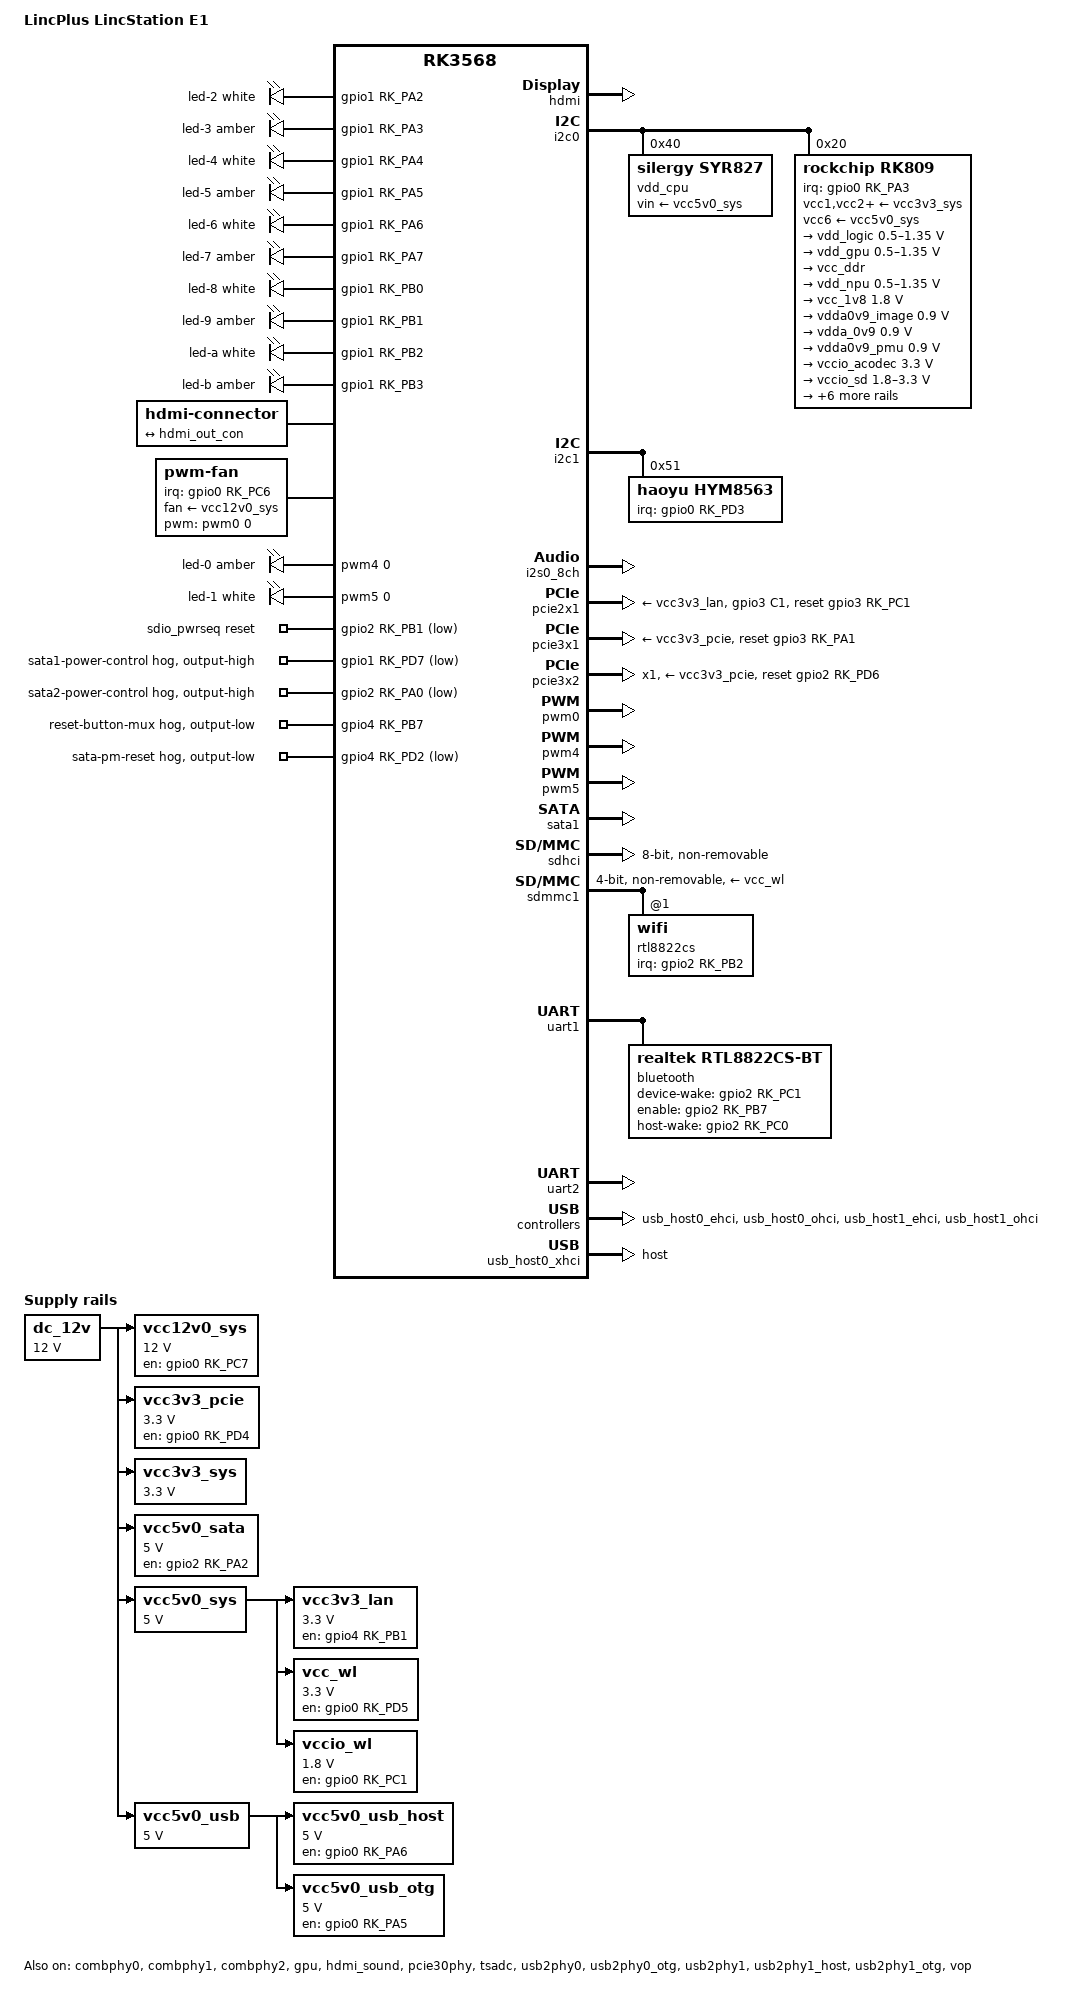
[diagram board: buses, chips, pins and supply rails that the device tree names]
// SPDX-License-Identifier: GPL-2.0-or-later OR MIT

/dts-v1/;

#include <dt-bindings/gpio/gpio.h>
#include <dt-bindings/input/input.h>
#include <dt-bindings/leds/common.h>
#include <dt-bindings/pinctrl/rockchip.h>
#include <dt-bindings/soc/rockchip,vop2.h>

#include "rk3568.dtsi"

/ {
	model = "LincPlus LincStation E1";
	compatible = "techvision,tvd8322r", "rockchip,rk3568";

	aliases {
		mmc0 = &sdhci;
		mmc1 = &sdmmc1;
		rtc0 = &hym8563;
	};

	chosen {
		stdout-path = "serial2:1500000n8";
	};

	/* This device is only available when reset-button-mux is driven high */
	adc-keys {
		compatible = "adc-keys";
		io-channels = <&saradc 5>;
		io-channel-names = "buttons";
		keyup-threshold-microvolt = <1800000>;
		poll-interval = <100>;
		status = "disabled";

		button-reset {
			label = "reset";
			linux,code = <KEY_RESTART>;
			press-threshold-microvolt = <0>;
		};
	};

	gpio-leds {
		compatible = "gpio-leds";
		pinctrl-names = "default";
		pinctrl-0 = <&gpio_leds &sata1_detect &sata2_detect>;

		led-2 {
			color = <LED_COLOR_ID_WHITE>;
			function = LED_FUNCTION_LAN;
			gpios = <&gpio1 RK_PA2 GPIO_ACTIVE_HIGH>;
			linux,default-trigger = "netdev";
		};

		led-3 {
			color = <LED_COLOR_ID_AMBER>;
			function = LED_FUNCTION_LAN;
			gpios = <&gpio1 RK_PA3 GPIO_ACTIVE_HIGH>;
			linux,default-trigger = "netdev";
		};

		led-4 {
			color = <LED_COLOR_ID_WHITE>;
			function = "m1";
			gpios = <&gpio1 RK_PA4 GPIO_ACTIVE_HIGH>;
		};

		led-5 {
			color = <LED_COLOR_ID_AMBER>;
			function = "m1";
			gpios = <&gpio1 RK_PA5 GPIO_ACTIVE_HIGH>;
		};

		led-6 {
			color = <LED_COLOR_ID_WHITE>;
			function = "m2";
			gpios = <&gpio1 RK_PA6 GPIO_ACTIVE_HIGH>;
		};

		led-7 {
			color = <LED_COLOR_ID_AMBER>;
			function = "m2";
			gpios = <&gpio1 RK_PA7 GPIO_ACTIVE_HIGH>;
		};

		led-8 {
			color = <LED_COLOR_ID_WHITE>;
			function = "s1";
			gpios = <&gpio1 RK_PB0 GPIO_ACTIVE_HIGH>;
			linux,default-trigger = "disk-activity";
		};

		led-9 {
			color = <LED_COLOR_ID_AMBER>;
			function = "s1";
			gpios = <&gpio1 RK_PB1 GPIO_ACTIVE_HIGH>;
			linux,default-trigger = "gpio";
			trigger-sources = <&gpio1 RK_PD6 GPIO_ACTIVE_LOW>;
		};

		led-a {
			color = <LED_COLOR_ID_WHITE>;
			function = "s2";
			gpios = <&gpio1 RK_PB2 GPIO_ACTIVE_HIGH>;
			linux,default-trigger = "disk-activity";
		};

		led-b {
			color = <LED_COLOR_ID_AMBER>;
			function = "s2";
			gpios = <&gpio1 RK_PB3 GPIO_ACTIVE_HIGH>;
			linux,default-trigger = "gpio";
			trigger-sources = <&gpio1 RK_PD5 GPIO_ACTIVE_LOW>;
		};
	};

	hdmi-con {
		compatible = "hdmi-connector";
		type = "a";

		port {
			hdmi_con_in: endpoint {
				remote-endpoint = <&hdmi_out_con>;
			};
		};
	};

	fan: pwm-fan {
		compatible = "pwm-fan";
		interrupt-parent = <&gpio0>;
		interrupts = <RK_PC6 IRQ_TYPE_EDGE_RISING>;
		#cooling-cells = <2>;
		cooling-levels = <0 20 50 90 130 170 210 225 240 255>;
		fan-supply = <&vcc12v0_sys>;
		fan-stop-to-start-percent = <8>;
		pinctrl-names = "default";
		pinctrl-0 = <&fan_tach>;
		pulses-per-revolution = <2>;
		pwms = <&pwm0 0 50000 0>;
	};

	pwm-leds {
		compatible = "pwm-leds";

		led-0 {
			color = <LED_COLOR_ID_AMBER>;
			default-state = "off";
			function = LED_FUNCTION_STANDBY;
			max-brightness = <255>;
			pwms = <&pwm4 0 25000 0>;
		};

		led-1 {
			color = <LED_COLOR_ID_WHITE>;
			default-brightness = <127>;
			default-state = "on";
			function = LED_FUNCTION_POWER;
			max-brightness = <255>;
			pwms = <&pwm5 0 25000 0>;
		};
	};

	dc_12v: regulator-dc-12v {
		compatible = "regulator-fixed";
		regulator-name = "dc_12v";
		regulator-always-on;
		regulator-boot-on;
		regulator-min-microvolt = <12000000>;
		regulator-max-microvolt = <12000000>;
	};

	vcc12v0_sys: regulator-vcc12v0-sys {
		compatible = "regulator-fixed";
		enable-active-high;
		gpio = <&gpio0 RK_PC7 GPIO_ACTIVE_HIGH>;
		pinctrl-names = "default";
		pinctrl-0 = <&vcc12v0_sys_en>;
		regulator-name = "vcc12v0_sys";
		regulator-always-on;
		regulator-boot-on;
		regulator-min-microvolt = <12000000>;
		regulator-max-microvolt = <12000000>;
		vin-supply = <&dc_12v>;
	};

	vcc3v3_lan: regulator-vcc3v3-lan {
		compatible = "regulator-fixed";
		enable-active-high;
		gpio = <&gpio4 RK_PB1 GPIO_ACTIVE_HIGH>;
		pinctrl-names = "default";
		pinctrl-0 = <&vcc3v3_lan_en>;
		regulator-name = "vcc3v3_lan";
		regulator-min-microvolt = <3300000>;
		regulator-max-microvolt = <3300000>;
		vin-supply = <&vcc5v0_sys>;
	};

	vcc3v3_pcie: regulator-vcc3v3-pcie {
		compatible = "regulator-fixed";
		enable-active-high;
		gpio = <&gpio0 RK_PD4 GPIO_ACTIVE_HIGH>;
		pinctrl-names = "default";
		pinctrl-0 = <&vcc3v3_pcie_en>;
		off-on-delay-us = <500000>;
		regulator-name = "vcc3v3_pcie";
		regulator-min-microvolt = <3300000>;
		regulator-max-microvolt = <3300000>;
		startup-delay-us = <5000>;
		vin-supply = <&dc_12v>;
	};

	vcc3v3_sys: regulator-vcc3v3-sys {
		compatible = "regulator-fixed";
		regulator-name = "vcc3v3_sys";
		regulator-always-on;
		regulator-boot-on;
		regulator-min-microvolt = <3300000>;
		regulator-max-microvolt = <3300000>;
		vin-supply = <&dc_12v>;
	};

	vcc5v0_sata: regulator-vcc5v0-sata {
		compatible = "regulator-fixed";
		enable-active-high;
		gpio = <&gpio2 RK_PA2 GPIO_ACTIVE_HIGH>;
		pinctrl-names = "default";
		pinctrl-0 = <&vcc5v0_sata_en>;
		regulator-name = "vcc5v0_sata";
		regulator-min-microvolt = <5000000>;
		regulator-max-microvolt = <5000000>;
		vin-supply = <&dc_12v>;
	};

	vcc5v0_sys: regulator-vcc5v0-sys {
		compatible = "regulator-fixed";
		regulator-name = "vcc5v0_sys";
		regulator-always-on;
		regulator-boot-on;
		regulator-min-microvolt = <5000000>;
		regulator-max-microvolt = <5000000>;
		vin-supply = <&dc_12v>;
	};

	vcc5v0_usb: regulator-vcc5v0-usb {
		compatible = "regulator-fixed";
		regulator-name = "vcc5v0_usb";
		regulator-always-on;
		regulator-boot-on;
		regulator-min-microvolt = <5000000>;
		regulator-max-microvolt = <5000000>;
		vin-supply = <&dc_12v>;
	};

	vcc5v0_usb_host: regulator-vcc5v0-usb-host {
		compatible = "regulator-fixed";
		enable-active-high;
		gpio = <&gpio0 RK_PA6 GPIO_ACTIVE_HIGH>;
		pinctrl-names = "default";
		pinctrl-0 = <&vcc5v0_usb_host_en>;
		regulator-name = "vcc5v0_usb_host";
		regulator-min-microvolt = <5000000>;
		regulator-max-microvolt = <5000000>;
		vin-supply = <&vcc5v0_usb>;
	};

	vcc5v0_usb_otg: regulator-vcc5v0-usb-otg {
		compatible = "regulator-fixed";
		enable-active-high;
		gpio = <&gpio0 RK_PA5 GPIO_ACTIVE_HIGH>;
		pinctrl-names = "default";
		pinctrl-0 = <&vcc5v0_usb_otg_en>;
		regulator-name = "vcc5v0_usb_otg";
		regulator-min-microvolt = <5000000>;
		regulator-max-microvolt = <5000000>;
		vin-supply = <&vcc5v0_usb>;
	};

	vcc_wl: regulator-vcc-wl {
		compatible = "regulator-fixed";
		enable-active-high;
		gpio = <&gpio0 RK_PD5 GPIO_ACTIVE_HIGH>;
		pinctrl-names = "default";
		pinctrl-0 = <&vcc_wl_en>;
		regulator-name = "vcc_wl";
		regulator-min-microvolt = <3300000>;
		regulator-max-microvolt = <3300000>;
		vin-supply = <&vcc5v0_sys>;
	};

	vccio_wl: regulator-vccio-wl {
		compatible = "regulator-fixed";
		enable-active-high;
		gpio = <&gpio0 RK_PC1 GPIO_ACTIVE_HIGH>;
		pinctrl-names = "default";
		pinctrl-0 = <&vccio_wl_en>;
		regulator-name = "vccio_wl";
		regulator-min-microvolt = <1800000>;
		regulator-max-microvolt = <1800000>;
		vin-supply = <&vcc5v0_sys>;
	};

	sdio_pwrseq: sdio-pwrseq {
		compatible = "mmc-pwrseq-simple";
		clocks = <&rk809 1>;
		clock-names = "ext_clock";
		pinctrl-names = "default";
		pinctrl-0 = <&wifi_enable_h>;
		post-power-on-delay-ms = <200>;
		reset-gpios = <&gpio2 RK_PB1 GPIO_ACTIVE_LOW>;
	};
};

&combphy0 {
	status = "okay";
};

&combphy1 {
	status = "okay";
};

&combphy2 {
	status = "okay";
};

&cpu0 {
	cpu-supply = <&vdd_cpu>;
};

&cpu1 {
	cpu-supply = <&vdd_cpu>;
};

&cpu2 {
	cpu-supply = <&vdd_cpu>;
};

&cpu3 {
	cpu-supply = <&vdd_cpu>;
};

/*
 * The fan pulls hot air from the CPU and m.2 slot heat sinks and blows it
 * across the hard disks. To keep the disks from overheating (below 50 °C),
 * their ambient air, and thus the CPU heat sink, must be kept quite cool.
 */
&cpu_thermal {
	trips {
		sys_fan1: sys-fan1 {
			hysteresis = <2000>;
			temperature = <25000>;
			type = "active";
		};

		sys_fan2: sys-fan2 {
			hysteresis = <2000>;
			temperature = <35000>;
			type = "active";
		};

		sys_fan3: sys-fan3 {
			hysteresis = <2000>;
			temperature = <45000>;
			type = "active";
		};
	};

	cooling-maps {
		map1 {
			cooling-device = <&fan 1 3>;
			trip = <&sys_fan1>;
		};

		map2 {
			cooling-device = <&fan 4 5>;
			trip = <&sys_fan2>;
		};

		map3 {
			cooling-device = <&fan 6 THERMAL_NO_LIMIT>;
			trip = <&sys_fan3>;
		};
	};
};

&gpio1 {
	/* ata1.01 is the slot labeled HDD2 */
	sata1-power-control-hog {
		gpio-hog;
		gpios = <RK_PD7 GPIO_ACTIVE_LOW>;
		line-name = "sata1-power-control";
		output-high;
	};
};

&gpio2 {
	/* ata1.02 is the slot labeled HDD1 */
	sata2-power-control-hog {
		gpio-hog;
		gpios = <RK_PA0 GPIO_ACTIVE_LOW>;
		line-name = "sata2-power-control";
		output-high;
	};
};

&gpio4 {
	/* low = SoC reset, high = saradc input */
	reset-button-mux-hog {
		gpio-hog;
		gpios = <RK_PB7 GPIO_ACTIVE_HIGH>;
		line-name = "reset-button-mux";
		output-low;
	};

	sata-pm-reset-hog {
		gpio-hog;
		gpios = <RK_PD2 GPIO_ACTIVE_LOW>;
		line-name = "sata-pm-reset";
		output-low;
	};
};

&gpu {
	mali-supply = <&vdd_gpu>;
	status = "okay";
};

&hdmi {
	avdd-0v9-supply = <&vdda0v9_image>;
	avdd-1v8-supply = <&vcca1v8_image>;
	status = "okay";
};

&hdmi_in {
	hdmi_in_vp0: endpoint {
		remote-endpoint = <&vp0_out_hdmi>;
	};
};

&hdmi_out {
	hdmi_out_con: endpoint {
		remote-endpoint = <&hdmi_con_in>;
	};
};

&hdmi_sound {
	status = "okay";
};

&i2c0 {
	status = "okay";

	vdd_cpu: regulator@40 {
		compatible = "silergy,syr827";
		reg = <0x40>;
		fcs,suspend-voltage-selector = <1>;
		regulator-name = "vdd_cpu";
		regulator-always-on;
		regulator-boot-on;
		regulator-min-microvolt = <712500>;
		regulator-max-microvolt = <1500000>;
		regulator-ramp-delay = <1000>;
		vin-supply = <&vcc5v0_sys>;

		regulator-state-mem {
			regulator-off-in-suspend;
		};
	};

	rk809: pmic@20 {
		compatible = "rockchip,rk809";
		reg = <0x20>;
		interrupt-parent = <&gpio0>;
		interrupts = <RK_PA3 IRQ_TYPE_LEVEL_LOW>;
		#clock-cells = <1>;
		pinctrl-names = "default";
		pinctrl-0 = <&pmic_int>;
		system-power-controller;
		vcc1-supply = <&vcc3v3_sys>;
		vcc2-supply = <&vcc3v3_sys>;
		vcc3-supply = <&vcc3v3_sys>;
		vcc4-supply = <&vcc3v3_sys>;
		vcc5-supply = <&vcc3v3_sys>;
		vcc6-supply = <&vcc5v0_sys>;
		vcc7-supply = <&vcc3v3_sys>;
		vcc8-supply = <&vcc3v3_sys>;
		vcc9-supply = <&vcc3v3_sys>;
		wakeup-source;

		regulators {
			vdd_logic: DCDC_REG1 {
				regulator-name = "vdd_logic";
				regulator-always-on;
				regulator-boot-on;
				regulator-initial-mode = <0x2>;
				regulator-min-microvolt = <500000>;
				regulator-max-microvolt = <1350000>;
				regulator-ramp-delay = <6001>;

				regulator-state-mem {
					regulator-off-in-suspend;
				};
			};

			vdd_gpu: DCDC_REG2 {
				regulator-name = "vdd_gpu";
				regulator-always-on;
				regulator-boot-on;
				regulator-initial-mode = <0x2>;
				regulator-min-microvolt = <500000>;
				regulator-max-microvolt = <1350000>;
				regulator-ramp-delay = <6001>;

				regulator-state-mem {
					regulator-off-in-suspend;
				};
			};

			vcc_ddr: DCDC_REG3 {
				regulator-name = "vcc_ddr";
				regulator-always-on;
				regulator-boot-on;
				regulator-initial-mode = <0x2>;

				regulator-state-mem {
					regulator-on-in-suspend;
				};
			};

			vdd_npu: DCDC_REG4 {
				regulator-name = "vdd_npu";
				regulator-initial-mode = <0x2>;
				regulator-min-microvolt = <500000>;
				regulator-max-microvolt = <1350000>;
				regulator-ramp-delay = <6001>;

				regulator-state-mem {
					regulator-off-in-suspend;
				};
			};

			vcc_1v8: DCDC_REG5 {
				regulator-name = "vcc_1v8";
				regulator-always-on;
				regulator-boot-on;
				regulator-min-microvolt = <1800000>;
				regulator-max-microvolt = <1800000>;

				regulator-state-mem {
					regulator-on-in-suspend;
				};
			};

			vdda0v9_image: LDO_REG1 {
				regulator-name = "vdda0v9_image";
				regulator-always-on;
				regulator-boot-on;
				regulator-min-microvolt = <900000>;
				regulator-max-microvolt = <900000>;

				regulator-state-mem {
					regulator-off-in-suspend;
				};
			};

			vdda_0v9: LDO_REG2 {
				regulator-name = "vdda_0v9";
				regulator-always-on;
				regulator-boot-on;
				regulator-min-microvolt = <900000>;
				regulator-max-microvolt = <900000>;

				regulator-state-mem {
					regulator-off-in-suspend;
				};
			};

			vdda0v9_pmu: LDO_REG3 {
				regulator-name = "vdda0v9_pmu";
				regulator-always-on;
				regulator-boot-on;
				regulator-min-microvolt = <900000>;
				regulator-max-microvolt = <900000>;

				regulator-state-mem {
					regulator-on-in-suspend;
				};
			};

			vccio_acodec: LDO_REG4 {
				regulator-name = "vccio_acodec";
				regulator-always-on;
				regulator-boot-on;
				regulator-min-microvolt = <3300000>;
				regulator-max-microvolt = <3300000>;

				regulator-state-mem {
					regulator-off-in-suspend;
				};
			};

			vccio_sd: LDO_REG5 {
				regulator-name = "vccio_sd";
				regulator-always-on;
				regulator-boot-on;
				regulator-min-microvolt = <1800000>;
				regulator-max-microvolt = <3300000>;

				regulator-state-mem {
					regulator-off-in-suspend;
				};
			};

			vcc3v3_pmu: LDO_REG6 {
				regulator-name = "vcc3v3_pmu";
				regulator-always-on;
				regulator-boot-on;
				regulator-min-microvolt = <3300000>;
				regulator-max-microvolt = <3300000>;

				regulator-state-mem {
					regulator-on-in-suspend;
				};
			};

			vcca_1v8: LDO_REG7 {
				regulator-name = "vcca_1v8";
				regulator-always-on;
				regulator-boot-on;
				regulator-min-microvolt = <1800000>;
				regulator-max-microvolt = <1800000>;

				regulator-state-mem {
					regulator-off-in-suspend;
				};
			};

			vcca1v8_pmu: LDO_REG8 {
				regulator-name = "vcca1v8_pmu";
				regulator-always-on;
				regulator-boot-on;
				regulator-min-microvolt = <1800000>;
				regulator-max-microvolt = <1800000>;

				regulator-state-mem {
					regulator-on-in-suspend;
				};
			};

			vcca1v8_image: LDO_REG9 {
				regulator-name = "vcca1v8_image";
				regulator-always-on;
				regulator-boot-on;
				regulator-min-microvolt = <1800000>;
				regulator-max-microvolt = <1800000>;

				regulator-state-mem {
					regulator-off-in-suspend;
				};
			};

			vcc_3v3: SWITCH_REG1 {
				regulator-name = "vcc_3v3";
				regulator-always-on;
				regulator-boot-on;

				regulator-state-mem {
					regulator-off-in-suspend;
				};
			};

			vcc3v3_sd: SWITCH_REG2 {
				regulator-name = "vcc3v3_sd";
				regulator-always-on;
				regulator-boot-on;

				regulator-state-mem {
					regulator-off-in-suspend;
				};
			};
		};
	};
};

&i2c1 {
	status = "okay";

	hym8563: rtc@51 {
		compatible = "haoyu,hym8563";
		reg = <0x51>;
		interrupt-parent = <&gpio0>;
		interrupts = <RK_PD3 IRQ_TYPE_LEVEL_LOW>;
		#clock-cells = <0>;
		clock-output-names = "rtcic_32kout";
		pinctrl-names = "default";
		pinctrl-0 = <&hym8563_int>;
		wakeup-source;
	};
};

&i2s0_8ch {
	status = "okay";
};

&pcie2x1 {
	pinctrl-names = "default";
	pinctrl-0 = <&pcie2x1_rst>;
	reset-gpios = <&gpio3 RK_PC1 GPIO_ACTIVE_HIGH>;
	vpcie3v3-supply = <&vcc3v3_lan>;
	status = "okay";
};

&pcie30phy {
	data-lanes = <1 2>;
	status = "okay";
};

&pcie3x1 {
	reset-gpios = <&gpio3 RK_PA1 GPIO_ACTIVE_HIGH>;
	vpcie3v3-supply = <&vcc3v3_pcie>;
	status = "okay";
};

&pcie3x2 {
	num-lanes = <1>;
	reset-gpios = <&gpio2 RK_PD6 GPIO_ACTIVE_HIGH>;
	vpcie3v3-supply = <&vcc3v3_pcie>;
	status = "okay";
};

&pinctrl {
	bluetooth {
		bt_device_wake_h: bt-device-wake-h {
			rockchip,pins = <2 RK_PC1 RK_FUNC_GPIO &pcfg_pull_none>;
		};

		bt_enable_h: bt-enable-h {
			rockchip,pins = <2 RK_PB7 RK_FUNC_GPIO &pcfg_pull_none>;
		};

		bt_host_wake_h: bt-host-wake-h {
			rockchip,pins = <2 RK_PC0 RK_FUNC_GPIO &pcfg_pull_down>;
		};
	};

	gpio-leds {
		gpio_leds: gpio-leds {
			rockchip,pins = <1 RK_PA2 RK_FUNC_GPIO &pcfg_pull_none>,
					<1 RK_PA3 RK_FUNC_GPIO &pcfg_pull_none>,
					<1 RK_PA4 RK_FUNC_GPIO &pcfg_pull_none>,
					<1 RK_PA5 RK_FUNC_GPIO &pcfg_pull_none>,
					<1 RK_PA6 RK_FUNC_GPIO &pcfg_pull_none>,
					<1 RK_PA7 RK_FUNC_GPIO &pcfg_pull_none>,
					<1 RK_PB0 RK_FUNC_GPIO &pcfg_pull_none>,
					<1 RK_PB1 RK_FUNC_GPIO &pcfg_pull_none>,
					<1 RK_PB2 RK_FUNC_GPIO &pcfg_pull_none>,
					<1 RK_PB3 RK_FUNC_GPIO &pcfg_pull_none>;
		};
	};

	hym8563 {
		hym8563_int: hym8563-int {
			rockchip,pins = <0 RK_PD3 RK_FUNC_GPIO &pcfg_pull_up>;
		};
	};

	pcie {
		pcie2x1_rst: pcie2x1-rst {
			rockchip,pins = <3 RK_PC1 RK_FUNC_GPIO &pcfg_pull_none>;
		};

		vcc3v3_lan_en: vcc3v3-lan-en {
			rockchip,pins = <4 RK_PB1 RK_FUNC_GPIO &pcfg_pull_none>;
		};

		vcc3v3_pcie_en: vcc3v3-pcie-en {
			rockchip,pins = <0 RK_PD4 RK_FUNC_GPIO &pcfg_pull_none>;
		};
	};

	pmic {
		pmic_int: pmic-int {
			rockchip,pins = <0 RK_PA3 RK_FUNC_GPIO &pcfg_pull_up>;
		};
	};

	pwm-fan {
		fan_tach: fan-tach {
			rockchip,pins = <0 RK_PC6 RK_FUNC_GPIO &pcfg_pull_none>;
		};

		vcc12v0_sys_en: vcc12v0-sys-en {
			rockchip,pins = <0 RK_PC7 RK_FUNC_GPIO &pcfg_pull_none>;
		};
	};

	sata {
		sata1_detect: sata1-detect {
			rockchip,pins = <1 RK_PD5 RK_FUNC_GPIO &pcfg_pull_up>;
		};

		sata2_detect: sata2-detect {
			rockchip,pins = <1 RK_PD6 RK_FUNC_GPIO &pcfg_pull_up>;
		};

		vcc5v0_sata_en: vcc5v0-sata-en {
			rockchip,pins = <2 RK_PA2 RK_FUNC_GPIO &pcfg_pull_none>;
		};
	};

	usb {
		vcc5v0_usb_host_en: vcc5v0-usb-host-en {
			rockchip,pins = <0 RK_PA6 RK_FUNC_GPIO &pcfg_pull_none>;
		};

		vcc5v0_usb_otg_en: vcc5v0-usb-otg-en {
			rockchip,pins = <0 RK_PA5 RK_FUNC_GPIO &pcfg_pull_none>;
		};
	};

	wlan {
		vcc_wl_en: vcc-wl-en {
			rockchip,pins = <0 RK_PD5 RK_FUNC_GPIO &pcfg_pull_none>;
		};

		vccio_wl_en: vccio-wl-en {
			rockchip,pins = <0 RK_PC1 RK_FUNC_GPIO &pcfg_pull_none>;
		};

		wifi_enable_h: wifi-enable-h {
			rockchip,pins = <2 RK_PB1 RK_FUNC_GPIO &pcfg_pull_none>;
		};

		wifi_host_wake_h: wifi-host-wake-h {
			rockchip,pins = <2 RK_PB2 RK_FUNC_GPIO &pcfg_pull_down>;
		};
	};
};

&pmu_io_domains {
	pmuio1-supply = <&vcc3v3_pmu>;
	pmuio2-supply = <&vcc3v3_pmu>;
	vccio1-supply = <&vccio_acodec>;
	vccio2-supply = <&vcc_1v8>;
	vccio3-supply = <&vccio_sd>;
	vccio4-supply = <&vcc_1v8>;
	vccio5-supply = <&vcc_3v3>;
	vccio6-supply = <&vcc_1v8>;
	vccio7-supply = <&vcc_3v3>;
	status = "okay";
};

&pwm0 {
	status = "okay";
};

&pwm4 {
	status = "okay";
};

&pwm5 {
	status = "okay";
};

&saradc {
	vref-supply = <&vcca_1v8>;
	status = "disabled";
};

&sata1 {
	target-supply = <&vcc5v0_sata>;
	status = "okay";
};

&sdhci {
	bus-width = <8>;
	max-frequency = <200000000>;
	non-removable;
	pinctrl-names = "default";
	pinctrl-0 = <&emmc_bus8 &emmc_clk &emmc_cmd &emmc_datastrobe>;
	status = "okay";
};

&sdmmc1 {
	#address-cells = <1>;
	#size-cells = <0>;
	bus-width = <4>;
	cap-sd-highspeed;
	cap-sdio-irq;
	disable-wp;
	keep-power-in-suspend;
	max-frequency = <208000000>;
	mmc-pwrseq = <&sdio_pwrseq>;
	no-mmc;
	no-sd;
	non-removable;
	pinctrl-names = "default";
	pinctrl-0 = <&sdmmc1_bus4 &sdmmc1_clk &sdmmc1_cmd>;
	sd-uhs-sdr104;
	vmmc-supply = <&vcc_wl>;
	vqmmc-supply = <&vccio_wl>;
	status = "okay";

	rtl8822cs: wifi@1 {
		reg = <1>;
		interrupt-parent = <&gpio2>;
		interrupts = <RK_PB2 IRQ_TYPE_LEVEL_HIGH>;
		interrupt-names = "host-wake";
		pinctrl-names = "default";
		pinctrl-0 = <&wifi_host_wake_h>;
	};
};

&tsadc {
	rockchip,hw-tshut-mode = <0>;
	rockchip,hw-tshut-polarity = <0>;
	status = "okay";
};

&uart1 {
	dma-names = "tx", "rx";
	pinctrl-names = "default";
	pinctrl-0 = <&uart1m0_xfer &uart1m0_ctsn &uart1m0_rtsn>;
	uart-has-rtscts;
	status = "okay";

	bluetooth {
		compatible = "realtek,rtl8822cs-bt";
		device-wake-gpios = <&gpio2 RK_PC1 GPIO_ACTIVE_HIGH>;
		enable-gpios = <&gpio2 RK_PB7 GPIO_ACTIVE_HIGH>;
		host-wake-gpios = <&gpio2 RK_PC0 GPIO_ACTIVE_HIGH>;
		pinctrl-names = "default";
		pinctrl-0 = <&bt_device_wake_h &bt_enable_h &bt_host_wake_h>;
	};
};

&uart2 {
	status = "okay";
};

&usb_host0_ehci {
	status = "okay";
};

&usb_host0_ohci {
	status = "okay";
};

&usb_host0_xhci {
	dr_mode = "host";
	extcon = <&usb2phy0>;
	status = "okay";
};

&usb_host1_ehci {
	status = "okay";
};

&usb_host1_ohci {
	status = "okay";
};

&usb2phy0 {
	status = "okay";
};

&usb2phy0_otg {
	phy-supply = <&vcc5v0_usb_otg>;
	status = "okay";
};

&usb2phy1 {
	status = "okay";
};

&usb2phy1_host {
	phy-supply = <&vcc5v0_usb_host>;
	status = "okay";
};

&usb2phy1_otg {
	phy-supply = <&vcc5v0_usb_host>;
	status = "okay";
};

&vop {
	assigned-clocks = <&cru DCLK_VOP0>, <&cru DCLK_VOP1>;
	assigned-clock-parents = <&pmucru PLL_HPLL>, <&cru PLL_VPLL>;
	status = "okay";
};

&vop_mmu {
	status = "okay";
};

&vp0 {
	vp0_out_hdmi: endpoint@ROCKCHIP_VOP2_EP_HDMI0 {
		reg = <ROCKCHIP_VOP2_EP_HDMI0>;
		remote-endpoint = <&hdmi_in_vp0>;
	};
};
